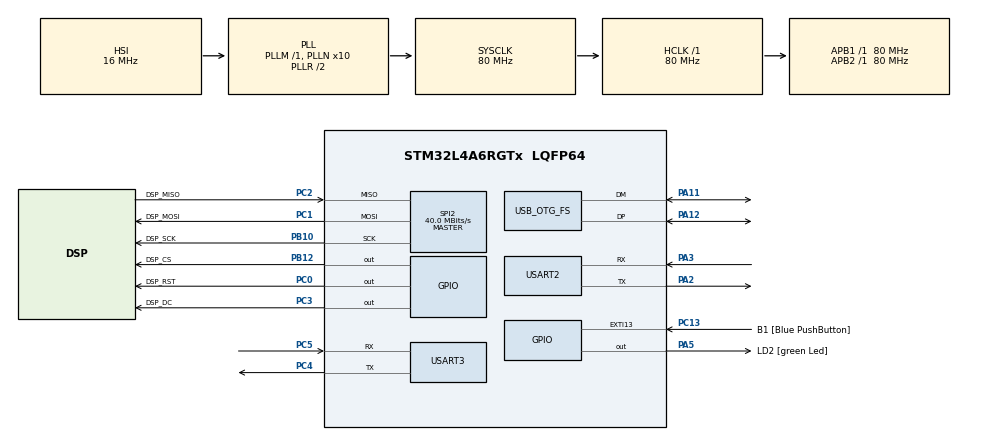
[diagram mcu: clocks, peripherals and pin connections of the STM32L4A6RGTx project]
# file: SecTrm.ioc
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Mcu.Family=STM32L4
Mcu.Name=STM32L4A6RGTx
Mcu.Package=LQFP64
NVIC.OTG_FS_IRQn=true\:0\:0\:false\:false\:true\:false
NVIC.PriorityGroup=NVIC_PRIORITYGROUP_4
NVIC.USART3_IRQn=true\:0\:0\:false\:false\:true\:true
PA11.Mode=Device_Only
PA11.Signal=USB_OTG_FS_DM
PA12.Mode=Device_Only
PA12.Signal=USB_OTG_FS_DP
PA13\ (JTMS/SWDIO).Mode=Trace_Asynchronous_SW
PA13\ (JTMS/SWDIO).Signal=SYS_JTMS-SWDIO
PA14\ (JTCK/SWCLK).Mode=Trace_Asynchronous_SW
PA14\ (JTCK/SWCLK).Signal=SYS_JTCK-SWCLK
PA2.Mode=Asynchronous
PA2.Signal=USART2_TX
PA3.Mode=Asynchronous
PA3.Signal=USART2_RX
PA5.GPIO_Label=LD2 [green Led]
PA5.Signal=GPIO_Output
PB10.GPIO_Label=DSP_SCK
PB10.GPIO_PuPd=GPIO_PULLUP
PB10.Mode=Full_Duplex_Master
PB10.Signal=SPI2_SCK
PB12.GPIO_Label=DSP_CS
PB12.GPIO_PuPd=GPIO_PULLUP
PB12.GPIO_Speed=GPIO_SPEED_FREQ_VERY_HIGH
PB12.Signal=GPIO_Output
PB3\ (JTDO/TRACESWO).Mode=Trace_Asynchronous_SW
PB3\ (JTDO/TRACESWO).Signal=SYS_JTDO-SWO
PC0.GPIO_Label=DSP_RST
PC0.GPIO_PuPd=GPIO_PULLUP
PC0.Signal=GPIO_Output
PC1.GPIO_Label=DSP_MOSI
PC1.Mode=Full_Duplex_Master
PC1.Signal=SPI2_MOSI
PC13.GPIO_Label=B1 [Blue PushButton]
PC13.GPIO_PuPd=GPIO_PULLUP
PC13.Signal=GPXTI13
PC14-OSC32_IN\ (PC14).Mode=LSE-External-Oscillator
PC14-OSC32_IN\ (PC14).Signal=RCC_OSC32_IN
PC15-OSC32_OUT\ (PC15).Mode=LSE-External-Oscillator
PC15-OSC32_OUT\ (PC15).Signal=RCC_OSC32_OUT
PC2.GPIO_Label=DSP_MISO
PC2.Mode=Full_Duplex_Master
PC2.Signal=SPI2_MISO
PC3.GPIO_Label=DSP_DC
PC3.GPIO_PuPd=GPIO_PULLUP
PC3.GPIO_Speed=GPIO_SPEED_FREQ_VERY_HIGH
PC3.Signal=GPIO_Output
PC4.Mode=Asynchronous
PC4.Signal=USART3_TX
PC5.Mode=Asynchronous
PC5.Signal=USART3_RX
ProjectManager.HeapSize=0x10000
ProjectManager.StackSize=0x10000
ProjectManager.TargetToolchain=TrueSTUDIO
RCC.ADCFreq_Value=64000000
RCC.AHBFreq_Value=80000000
RCC.APB1Freq_Value=80000000
RCC.APB1TimFreq_Value=80000000
RCC.APB2Freq_Value=80000000
RCC.APB2TimFreq_Value=80000000
RCC.CK48CLockSelection=RCC_USBCLKSOURCE_HSI48
RCC.CortexFreq_Value=80000000
RCC.HCLKFreq_Value=80000000
RCC.HSE_VALUE=8000000
RCC.HSI48_VALUE=48000000
RCC.HSI_VALUE=16000000
RCC.MSI_VALUE=4000000
RCC.PLLN=10
RCC.PLLSourceVirtual=RCC_PLLSOURCE_HSI
RCC.RTCClockSelection=RCC_RTCCLKSOURCE_LSE
RCC.SYSCLKFreq_VALUE=80000000
RCC.SYSCLKSource=RCC_SYSCLKSOURCE_PLLCLK
RCC.USBFreq_Value=48000000
RCC.VCOOutputFreq_Value=160000000
RTC.Format=RTC_FORMAT_BIN
RTC.WeekDay=RTC_WEEKDAY_SATURDAY
SPI2.CalculateBaudRate=40.0 MBits/s
SPI2.DataSize=SPI_DATASIZE_8BIT
SPI2.Direction=SPI_DIRECTION_2LINES
SPI2.Mode=SPI_MODE_MASTER
SPI2.VirtualType=VM_MASTER
USART2.VirtualMode-Asynchronous=VM_ASYNC
USART3.VirtualMode-Asynchronous=VM_ASYNC
USB_DEVICE.CLASS_NAME_FS=CDC
USB_DEVICE.VirtualMode=Cdc
USB_DEVICE.VirtualModeFS=Cdc_FS
USB_OTG_FS.VirtualMode=Device_Only
VP_RNG_VS_RNG.Mode=RNG_Activate
VP_RTC_VS_RTC_Activate.Mode=RTC_Enabled
VP_RTC_VS_RTC_Calendar.Mode=RTC_Calendar
VP_USB_DEVICE_VS_USB_DEVICE_CDC_FS.Mode=CDC_FS
board=custom

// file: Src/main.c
/**
  ******************************************************************************
  * @file           : main.c
  * @brief          : Main program body
  ******************************************************************************
  * This notice applies to any and all portions of this file
  * that are not between comment pairs USER CODE BEGIN and
  * USER CODE END. Other portions of this file, whether
  * inserted by the user or by software development tools
  * are owned by their respective copyright owners.
  *
  * Copyright (c) 2018 STMicroelectronics International N.V.
  * All rights reserved.
  *
  * Redistribution and use in source and binary forms, with or without
  * modification, are permitted, provided that the following conditions are met:
  *
  * 1. Redistribution of source code must retain the above copyright notice,
  *    this list of conditions and the following disclaimer.
  * 2. Redistributions in binary form must reproduce the above copyright notice,
  *    this list of conditions and the following disclaimer in the documentation
  *    and/or other materials provided with the distribution.
  * 3. Neither the name of STMicroelectronics nor the names of other
  *    contributors to this software may be used to endorse or promote products
  *    derived from this software without specific written permission.
  * 4. This software, including modifications and/or derivative works of this
  *    software, must execute solely and exclusively on microcontroller or
  *    microprocessor devices manufactured by or for STMicroelectronics.
  * 5. Redistribution and use of this software other than as permitted under
  *    this license is void and will automatically terminate your rights under
  *    this license.
  *
  * THIS SOFTWARE IS PROVIDED BY STMICROELECTRONICS AND CONTRIBUTORS "AS IS"
  * AND ANY EXPRESS, IMPLIED OR STATUTORY WARRANTIES, INCLUDING, BUT NOT
  * LIMITED TO, THE IMPLIED WARRANTIES OF MERCHANTABILITY, FITNESS FOR A
  * PARTICULAR PURPOSE AND NON-INFRINGEMENT OF THIRD PARTY INTELLECTUAL PROPERTY
  * RIGHTS ARE DISCLAIMED TO THE FULLEST EXTENT PERMITTED BY LAW. IN NO EVENT
  * SHALL STMICROELECTRONICS OR CONTRIBUTORS BE LIABLE FOR ANY DIRECT, INDIRECT,
  * INCIDENTAL, SPECIAL, EXEMPLARY, OR CONSEQUENTIAL DAMAGES (INCLUDING, BUT NOT
  * LIMITED TO, PROCUREMENT OF SUBSTITUTE GOODS OR SERVICES; LOSS OF USE, DATA,
  * OR PROFITS; OR BUSINESS INTERRUPTION) HOWEVER CAUSED AND ON ANY THEORY OF
  * LIABILITY, WHETHER IN CONTRACT, STRICT LIABILITY, OR TORT (INCLUDING
  * NEGLIGENCE OR OTHERWISE) ARISING IN ANY WAY OUT OF THE USE OF THIS SOFTWARE,
  * EVEN IF ADVISED OF THE POSSIBILITY OF SUCH DAMAGE.
  *
  ******************************************************************************
  */
#include "main.h"
#include "stm32l4xx_hal.h"
#include "usb_device.h"

/* USER CODE BEGIN Includes */
#include <time.h>
#include "StmUtil.h"
#include <cyrep/RiotTarget.h>
#include <cyrep/RiotStatus.h>
#include "cyrep/RiotSha256.h"
#include <cyrep/RiotEcc.h>
#include <cyrep/RiotDerEnc.h>
#include <cyrep/RiotX509Bldr.h>
#include <cyrep/RiotCrypt.h>
#include <BarnacleTA.h>
#include "fPPlat.h"
#include "fPLib.h"
#include "secdisp_drv.h"
#include "ili9340.h"
#include "TpmDevice.h"
#include "StmUtil.h"

/* USER CODE END Includes */

RNG_HandleTypeDef hrng;

RTC_HandleTypeDef hrtc;

SPI_HandleTypeDef hspi2;

UART_HandleTypeDef huart2;
UART_HandleTypeDef huart3;

/* USER CODE BEGIN PV */
/* Private variables ---------------------------------------------------------*/

/* USER CODE END PV */

void SystemClock_Config(void);
static void MX_GPIO_Init(void);
static void MX_RNG_Init(void);
static void MX_RTC_Init(void);
static void MX_SPI2_Init(void);
static void MX_USART2_UART_Init(void);
static void MX_USART3_UART_Init(void);

/* USER CODE BEGIN PFP */
/* Private function prototypes -----------------------------------------------*/

/* USER CODE END PFP */

/* USER CODE BEGIN 0 */
extern bool g_DisplayReady;
extern struct secdisp_driver g_Secdisp;
extern char displayText[FP_DISPLAY_MAX_TEXT + 1];

/* USER CODE END 0 */

int main(void)
{
  /* USER CODE BEGIN 1 */
//    char agentPolicy[] = "This is the agent policy.\r\n";
    FPR_ERROR_CODE fpResult = 0;
    TEE_Result dspResult;
    char compoundIdStr[27] = {0};

  /* USER CODE END 1 */

  /* MCU Configuration----------------------------------------------------------*/

  /* Reset of all peripherals, Initializes the Flash interface and the Systick. */
  HAL_Init();

  /* Configure the system clock */
  SystemClock_Config();

  /* Initialize all configured peripherals */
  MX_GPIO_Init();
  MX_RNG_Init();
  MX_RTC_Init();
  MX_SPI2_Init();
  MX_USART2_UART_Init();
  MX_USART3_UART_Init();
  MX_USB_DEVICE_Init();
  /* USER CODE BEGIN 2 */
#ifdef SWVDEBUG
  InitializeITM(true);
#else
  InitializeITM(false);
#endif
  fprintf(stderr, "\r\n\r\n"
                  "================\r\n"
                  "   SecTrm TA\r\n"
                  "================\r\n");

  char* dateStr = asctime(localtime((time_t*)&AgentHdr.s.sign.agent.issued));
  dateStr[24] = '\0';
  printf("%s (%u bytes, V%d.%d, %s)\r\n",
         AgentHdr.s.sign.agent.name,
         (unsigned int)AgentHdr.s.sign.agent.size,
         (short unsigned int)AgentHdr.s.sign.agent.version >> 16,
         (short unsigned int)AgentHdr.s.sign.agent.version % 0x0000ffff,
         dateStr);
  BarnacleTAGetCompoundID((RIOT_ECC_PUBLIC*)&pCertStore->info.devicePubKey, compoundIdStr);
  logInfo("DeviceID          : %s\r\n", compoundIdStr);
  BarnacleTAGetCompoundID((RIOT_ECC_PUBLIC*)&pCompoundId->info.pubKey, compoundIdStr);
  logInfo("CompoundID[Code]  : %s\r\n", compoundIdStr);

  BarnacleTAPrintCertStore();

  // Fingerprint reader initialization
  if((fpResult = FPRP_Initialize(false)) != FPR_ERROR_ACK_SUCCESS)
  {
      logError("FPRP_Initialize(false) = 0x%08x\r\n", fpResult);
      _Error_Handler(__FILE__, __LINE__);
  }
  if((fpResult = FPR_CMOSLEDControl(true)) != FPR_ERROR_ACK_SUCCESS)
  {
      logError("FPR_CMOSLEDControl(true) = 0x%08x\r\n", fpResult);
      _Error_Handler(__FILE__, __LINE__);
  }

//  // Display initialization
//  HAL_GPIO_WritePin(DSP_RST_GPIO_Port, DSP_RST_Pin, GPIO_PIN_RESET);
//  HAL_Delay(50);
//  HAL_GPIO_WritePin(DSP_RST_GPIO_Port, DSP_RST_Pin, GPIO_PIN_SET);
//  HAL_Delay(50);
//  if ((dspResult = ili9340_drv_init(&g_Secdisp)) != TEE_SUCCESS)
//  {
//      logError("secdisp_init() = 0x08%x\r\n", (uint)dspResult);
//      _Error_Handler(__FILE__, __LINE__);
//  }
//
//  if ((dspResult = g_Secdisp.ops->set_text_attr(&g_Secdisp, SECDISP_YELLOW, SECDISP_BLACK, 2)) != TEE_SUCCESS)
//  {
//      logError("secdisp_set_text_attr() = 0x08%x\r\n", (uint)dspResult);
//      _Error_Handler(__FILE__, __LINE__);
//  }
//
//  if ((dspResult = g_Secdisp.ops->set_rotation(&g_Secdisp, SECDISP_270))!= TEE_SUCCESS)
//  {
//      logError("secdisp_set_rotation() = 0x08%x\r\n", (uint)dspResult);
//      _Error_Handler(__FILE__, __LINE__);
//  }
//
//  if ((dspResult = g_Secdisp.ops->clear(&g_Secdisp, SECDISP_BLACK)) != TEE_SUCCESS)
//  {
//      logError("secdisp_clear() = 0x08%x\r\n", (uint)dspResult);
//      _Error_Handler(__FILE__, __LINE__);
//  }
//  memset(displayText, 0x00, sizeof(displayText));
//  g_DisplayReady = true;
//
//  if ((dspResult = g_Secdisp.ops->write_text(&g_Secdisp, -1, -1, (uint8_t*)compoundIdStr, strlen(compoundIdStr) - 1)) != TEE_SUCCESS)
//  {
//      logError("secdisp_write_text() = 0x08%x\r\n", (uint)dspResult);
//      _Error_Handler(__FILE__, __LINE__);
//  }
  SEC_MSG_INIT(true);
  SEC_MSG_CLEAR();
  SEC_MSG("%sDevID=%s\n\r%s\r", ESC_HOME, compoundIdStr, ESC_EL);
  SEC_STATUS("Starting...%s", ESC_EL);

  if(!TpmInitializeDevice())
  {
      _Error_Handler(__FILE__, __LINE__);
  }

  SEC_STATUS("Ready%s", ESC_EL)
  HAL_Delay(2000);
  SEC_MSG_CLEAR();

  if((fpResult = FPR_CMOSLEDControl(false)) != FPR_ERROR_ACK_SUCCESS)
  {
      logError("FPR_CMOSLEDControl(false) = 0x%08x\r\n", fpResult);
      _Error_Handler(__FILE__, __LINE__);
  }

  // Issue policy based end cert
//  if(!BarnacleTADerivePolicyIdentity((uint8_t*)agentPolicy, sizeof(agentPolicy)))
//  {
//      logError("BarnacleDerivePolicyIdentity failed.\r\n");
//      Error_Handler();
//  }
//  BarnacleTAGetCompoundID((RIOT_ECC_PUBLIC*)&pCompoundId->info.pubKey, compoundIdStr);
//  logInfo("CompoundID[Policy]: %s\r\n\r\n", compoundIdStr);

  /* USER CODE END 2 */

  /* Infinite loop */
  /* USER CODE BEGIN WHILE */
  while (1)
  {
      if(!TpmOperationsLoop())
      {
          _Error_Handler(__FILE__, __LINE__);
      }

  /* USER CODE END WHILE */

  }

}

void SystemClock_Config(void)
{

  RCC_OscInitTypeDef RCC_OscInitStruct;
  RCC_ClkInitTypeDef RCC_ClkInitStruct;
  RCC_PeriphCLKInitTypeDef PeriphClkInit;

    /**Configure LSE Drive Capability
    */
  HAL_PWR_EnableBkUpAccess();

  __HAL_RCC_LSEDRIVE_CONFIG(RCC_LSEDRIVE_LOW);

    /**Initializes the CPU, AHB and APB busses clocks
    */
  RCC_OscInitStruct.OscillatorType = RCC_OSCILLATORTYPE_HSI48|RCC_OSCILLATORTYPE_HSI
                              |RCC_OSCILLATORTYPE_LSE;
  RCC_OscInitStruct.LSEState = RCC_LSE_ON;
  RCC_OscInitStruct.HSIState = RCC_HSI_ON;
  RCC_OscInitStruct.HSI48State = RCC_HSI48_ON;
  RCC_OscInitStruct.HSICalibrationValue = 64;
  RCC_OscInitStruct.PLL.PLLState = RCC_PLL_ON;
  RCC_OscInitStruct.PLL.PLLSource = RCC_PLLSOURCE_HSI;
  RCC_OscInitStruct.PLL.PLLM = 1;
  RCC_OscInitStruct.PLL.PLLN = 10;
  RCC_OscInitStruct.PLL.PLLP = RCC_PLLP_DIV2;
  RCC_OscInitStruct.PLL.PLLQ = RCC_PLLQ_DIV2;
  RCC_OscInitStruct.PLL.PLLR = RCC_PLLR_DIV2;
  if (HAL_RCC_OscConfig(&RCC_OscInitStruct) != HAL_OK)
  {
    _Error_Handler(__FILE__, __LINE__);
  }

    /**Initializes the CPU, AHB and APB busses clocks
    */
  RCC_ClkInitStruct.ClockType = RCC_CLOCKTYPE_HCLK|RCC_CLOCKTYPE_SYSCLK
                              |RCC_CLOCKTYPE_PCLK1|RCC_CLOCKTYPE_PCLK2;
  RCC_ClkInitStruct.SYSCLKSource = RCC_SYSCLKSOURCE_PLLCLK;
  RCC_ClkInitStruct.AHBCLKDivider = RCC_SYSCLK_DIV1;
  RCC_ClkInitStruct.APB1CLKDivider = RCC_HCLK_DIV1;
  RCC_ClkInitStruct.APB2CLKDivider = RCC_HCLK_DIV1;

  if (HAL_RCC_ClockConfig(&RCC_ClkInitStruct, FLASH_LATENCY_4) != HAL_OK)
  {
    _Error_Handler(__FILE__, __LINE__);
  }

  PeriphClkInit.PeriphClockSelection = RCC_PERIPHCLK_RTC|RCC_PERIPHCLK_USART2
                              |RCC_PERIPHCLK_USART3|RCC_PERIPHCLK_USB
                              |RCC_PERIPHCLK_RNG;
  PeriphClkInit.Usart2ClockSelection = RCC_USART2CLKSOURCE_PCLK1;
  PeriphClkInit.Usart3ClockSelection = RCC_USART3CLKSOURCE_PCLK1;
  PeriphClkInit.RTCClockSelection = RCC_RTCCLKSOURCE_LSE;
  PeriphClkInit.UsbClockSelection = RCC_USBCLKSOURCE_HSI48;
  PeriphClkInit.RngClockSelection = RCC_RNGCLKSOURCE_HSI48;
  if (HAL_RCCEx_PeriphCLKConfig(&PeriphClkInit) != HAL_OK)
  {
    _Error_Handler(__FILE__, __LINE__);
  }

    /**Configure the main internal regulator output voltage
    */
  if (HAL_PWREx_ControlVoltageScaling(PWR_REGULATOR_VOLTAGE_SCALE1) != HAL_OK)
  {
    _Error_Handler(__FILE__, __LINE__);
  }

    /**Configure the Systick interrupt time
    */
  HAL_SYSTICK_Config(HAL_RCC_GetHCLKFreq()/1000);

    /**Configure the Systick
    */
  HAL_SYSTICK_CLKSourceConfig(SYSTICK_CLKSOURCE_HCLK);

  /* SysTick_IRQn interrupt configuration */
  HAL_NVIC_SetPriority(SysTick_IRQn, 0, 0);
}

/* RNG init function */
static void MX_RNG_Init(void)
{

  hrng.Instance = RNG;
  if (HAL_RNG_Init(&hrng) != HAL_OK)
  {
    _Error_Handler(__FILE__, __LINE__);
  }

}

/* RTC init function */
static void MX_RTC_Init(void)
{

  RTC_TimeTypeDef sTime;
  RTC_DateTypeDef sDate;

    /**Initialize RTC Only
    */
  hrtc.Instance = RTC;
  hrtc.Init.HourFormat = RTC_HOURFORMAT_24;
  hrtc.Init.AsynchPrediv = 127;
  hrtc.Init.SynchPrediv = 255;
  hrtc.Init.OutPut = RTC_OUTPUT_DISABLE;
  hrtc.Init.OutPutRemap = RTC_OUTPUT_REMAP_NONE;
  hrtc.Init.OutPutPolarity = RTC_OUTPUT_POLARITY_HIGH;
  hrtc.Init.OutPutType = RTC_OUTPUT_TYPE_OPENDRAIN;
  if (HAL_RTC_Init(&hrtc) != HAL_OK)
  {
    _Error_Handler(__FILE__, __LINE__);
  }

    /**Initialize RTC and set the Time and Date
    */
  sTime.Hours = 0;
  sTime.Minutes = 0;
  sTime.Seconds = 0;
  sTime.DayLightSaving = RTC_DAYLIGHTSAVING_NONE;
  sTime.StoreOperation = RTC_STOREOPERATION_RESET;
  if (HAL_RTC_SetTime(&hrtc, &sTime, RTC_FORMAT_BIN) != HAL_OK)
  {
    _Error_Handler(__FILE__, __LINE__);
  }

  sDate.WeekDay = RTC_WEEKDAY_SATURDAY;
  sDate.Month = RTC_MONTH_JANUARY;
  sDate.Date = 1;
  sDate.Year = 0;

  if (HAL_RTC_SetDate(&hrtc, &sDate, RTC_FORMAT_BIN) != HAL_OK)
  {
    _Error_Handler(__FILE__, __LINE__);
  }

}

/* SPI2 init function */
static void MX_SPI2_Init(void)
{

  /* SPI2 parameter configuration*/
  hspi2.Instance = SPI2;
  hspi2.Init.Mode = SPI_MODE_MASTER;
  hspi2.Init.Direction = SPI_DIRECTION_2LINES;
  hspi2.Init.DataSize = SPI_DATASIZE_8BIT;
  hspi2.Init.CLKPolarity = SPI_POLARITY_LOW;
  hspi2.Init.CLKPhase = SPI_PHASE_1EDGE;
  hspi2.Init.NSS = SPI_NSS_SOFT;
  hspi2.Init.BaudRatePrescaler = SPI_BAUDRATEPRESCALER_2;
  hspi2.Init.FirstBit = SPI_FIRSTBIT_MSB;
  hspi2.Init.TIMode = SPI_TIMODE_DISABLE;
  hspi2.Init.CRCCalculation = SPI_CRCCALCULATION_DISABLE;
  hspi2.Init.CRCPolynomial = 7;
  hspi2.Init.CRCLength = SPI_CRC_LENGTH_DATASIZE;
  hspi2.Init.NSSPMode = SPI_NSS_PULSE_ENABLE;
  if (HAL_SPI_Init(&hspi2) != HAL_OK)
  {
    _Error_Handler(__FILE__, __LINE__);
  }

}

/* USART2 init function */
static void MX_USART2_UART_Init(void)
{

  huart2.Instance = USART2;
  huart2.Init.BaudRate = 115200;
  huart2.Init.WordLength = UART_WORDLENGTH_8B;
  huart2.Init.StopBits = UART_STOPBITS_1;
  huart2.Init.Parity = UART_PARITY_NONE;
  huart2.Init.Mode = UART_MODE_TX_RX;
  huart2.Init.HwFlowCtl = UART_HWCONTROL_NONE;
  huart2.Init.OverSampling = UART_OVERSAMPLING_16;
  huart2.Init.OneBitSampling = UART_ONE_BIT_SAMPLE_DISABLE;
  huart2.AdvancedInit.AdvFeatureInit = UART_ADVFEATURE_NO_INIT;
  if (HAL_UART_Init(&huart2) != HAL_OK)
  {
    _Error_Handler(__FILE__, __LINE__);
  }

}

/* USART3 init function */
static void MX_USART3_UART_Init(void)
{

  huart3.Instance = USART3;
  huart3.Init.BaudRate = 115200;
  huart3.Init.WordLength = UART_WORDLENGTH_8B;
  huart3.Init.StopBits = UART_STOPBITS_1;
  huart3.Init.Parity = UART_PARITY_NONE;
  huart3.Init.Mode = UART_MODE_TX_RX;
  huart3.Init.HwFlowCtl = UART_HWCONTROL_NONE;
  huart3.Init.OverSampling = UART_OVERSAMPLING_16;
  huart3.Init.OneBitSampling = UART_ONE_BIT_SAMPLE_DISABLE;
  huart3.AdvancedInit.AdvFeatureInit = UART_ADVFEATURE_NO_INIT;
  if (HAL_UART_Init(&huart3) != HAL_OK)
  {
    _Error_Handler(__FILE__, __LINE__);
  }

}

/** Configure pins as
        * Analog
        * Input
        * Output
        * EVENT_OUT
        * EXTI
*/
static void MX_GPIO_Init(void)
{

  GPIO_InitTypeDef GPIO_InitStruct;

  /* GPIO Ports Clock Enable */
  __HAL_RCC_GPIOC_CLK_ENABLE();
  __HAL_RCC_GPIOA_CLK_ENABLE();
  __HAL_RCC_GPIOB_CLK_ENABLE();

  /*Configure GPIO pin Output Level */
  HAL_GPIO_WritePin(GPIOC, DSP_RST_Pin|DSP_DC_Pin, GPIO_PIN_RESET);

  /*Configure GPIO pin Output Level */
  HAL_GPIO_WritePin(LD2_GPIO_Port, LD2_Pin, GPIO_PIN_RESET);

  /*Configure GPIO pin Output Level */
  HAL_GPIO_WritePin(DSP_CS_GPIO_Port, DSP_CS_Pin, GPIO_PIN_RESET);

  /*Configure GPIO pin : B1_Pin */
  GPIO_InitStruct.Pin = B1_Pin;
  GPIO_InitStruct.Mode = GPIO_MODE_IT_RISING;
  GPIO_InitStruct.Pull = GPIO_PULLUP;
  HAL_GPIO_Init(B1_GPIO_Port, &GPIO_InitStruct);

  /*Configure GPIO pin : DSP_RST_Pin */
  GPIO_InitStruct.Pin = DSP_RST_Pin;
  GPIO_InitStruct.Mode = GPIO_MODE_OUTPUT_PP;
  GPIO_InitStruct.Pull = GPIO_PULLUP;
  GPIO_InitStruct.Speed = GPIO_SPEED_FREQ_LOW;
  HAL_GPIO_Init(DSP_RST_GPIO_Port, &GPIO_InitStruct);

  /*Configure GPIO pin : DSP_DC_Pin */
  GPIO_InitStruct.Pin = DSP_DC_Pin;
  GPIO_InitStruct.Mode = GPIO_MODE_OUTPUT_PP;
  GPIO_InitStruct.Pull = GPIO_PULLUP;
  GPIO_InitStruct.Speed = GPIO_SPEED_FREQ_VERY_HIGH;
  HAL_GPIO_Init(DSP_DC_GPIO_Port, &GPIO_InitStruct);

  /*Configure GPIO pin : LD2_Pin */
  GPIO_InitStruct.Pin = LD2_Pin;
  GPIO_InitStruct.Mode = GPIO_MODE_OUTPUT_PP;
  GPIO_InitStruct.Pull = GPIO_NOPULL;
  GPIO_InitStruct.Speed = GPIO_SPEED_FREQ_LOW;
  HAL_GPIO_Init(LD2_GPIO_Port, &GPIO_InitStruct);

  /*Configure GPIO pin : DSP_CS_Pin */
  GPIO_InitStruct.Pin = DSP_CS_Pin;
  GPIO_InitStruct.Mode = GPIO_MODE_OUTPUT_PP;
  GPIO_InitStruct.Pull = GPIO_PULLUP;
  GPIO_InitStruct.Speed = GPIO_SPEED_FREQ_VERY_HIGH;
  HAL_GPIO_Init(DSP_CS_GPIO_Port, &GPIO_InitStruct);

}

void _Error_Handler(char *file, int line)
{
  while(1)
  {
  }
}

/************************ (C) COPYRIGHT STMicroelectronics *****END OF FILE****/
